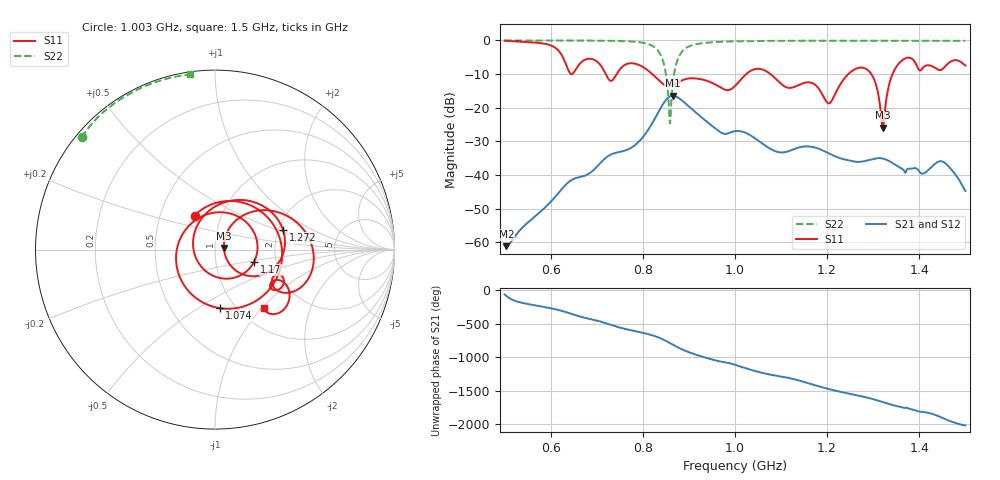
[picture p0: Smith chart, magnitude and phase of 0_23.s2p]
! TOUCHSTONE file generated by CST MICROWAVE STUDIO
! Date and time: Sat Oct 24 10:46:02 2020
! Project name: Scenario_1_Planar_Body_Tissue_Center.cst
! Parameters = {hfat=3; hmuscle=50; hskin=1.5; hgap=25; Wtissue=700; Ltissue=700; L_HA=400; MT=2.54; Rad_Dielectric=30; Rad_Lower=7.3; Rad_Upper=30; a_HA=580; a_WG=246; b_HA=500; b_WG=121; c_HA=0; c_WG=187; d_feed=85; dx1=554.04; h_feed=15; h_lower=18; h_upper=40}
! Header version: 2018
! Port assignment regex: !\s*Touchstone port\s*([0-9]+)\s*=\s*(CST MWS port|CST DS port)\s*([0-9]+|Zmin|Zmax)\s*\(\"(.*)\"\)(\s*mode\s*([0-9]+))?.*
! Touchstone port assignment:
! Touchstone port 1 = CST MWS port 1 ("")
! Touchstone port 2 = CST MWS port 2 ("")
# GHz S DB R 50
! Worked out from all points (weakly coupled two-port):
!   1003 points, 500 MHz to 1.5 GHz, reference 50 ohm
!   highest |S21| = -16.46 dB at 865 MHz (marker M1); lowest = -61.2 dB at 504 MHz (marker M2)
!   lowest |S11| = -25.9 dB at 1.321 GHz (marker M3), VSWR 1.11, Z = 55.2 + j0.926 ohm
!   |S11| at or under -10 dB: 820.3 MHz to 1.024 GHz (204 MHz wide, 22.1 % of centre); 1.077 GHz to 1.246 GHz (169.2 MHz wide, 14.6 % of centre); 1.296 GHz to 1.342 GHz (45.97 MHz wide, 3.49 % of centre) (the widest 3 of 5)
!   |S22| runs from -24.7 to 0.0 dB; largest |S21 - S12| = 6.2e-05
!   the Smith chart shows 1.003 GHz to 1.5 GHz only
!   S11 on the Smith chart (normalised r, x): 1.003 GHz: 0.75, +0.30; 1.074 GHz: 0.85, -0.62; 1.17 GHz: 1.54, -0.22; 1.272 GHz: 2.12, +0.55; 1.5 GHz: 1.29, -1.02
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0.5  -0.09 -122.2  -60.94 -63.0  -60.93 -63.0  -0.01 151.1
0.504  -0.12 -123.7  -61.20 -85.5  -61.20 -85.5  -0.01 150.9
0.621  -3.73 156.2  -44.72 59.1  -44.72 59.1  -0.02 142.4
0.667  -6.41 168.3  -40.55 -37.9  -40.55 -37.9  -0.04 138.4
0.722  -10.67 23.9  -34.66 -136.6  -34.66 -136.6  -0.10 132.0
0.766  -6.97 174.7  -32.52 136.5  -32.52 136.5  -0.24 124.1
0.797  -7.65 99.7  -29.28 90.2  -29.28 90.2  -0.61 114.2
0.834  -11.78 -1.0  -21.27 16.0  -21.27 16.0  -3.26 85.2
0.865  -13.30 -130.6  -16.46 -93.0  -16.46 -93.0  -12.94 -134.0
0.898  -11.35 103.6  -19.38 161.6  -19.38 161.6  -1.90 170.1
0.961  -13.39 -74.5  -26.56 28.4  -26.56 28.4  -0.46 146.7
1  -13.55 132.1  -26.98 -31.8  -26.98 -31.8  -0.28 140.2
1.003  -13.12 120.9  -26.93 -38.3  -26.93 -38.3  -0.27 139.9
1.042  -8.58 1.1  -28.98 -122.2  -28.98 -122.2  -0.18 135.3
1.074  -9.70 -85.4  -32.03 -175.4  -32.03 -175.4  -0.14 132.1
1.167  -12.66 -9.1  -31.66 36.4  -31.66 36.4  -0.09 124.2
1.17  -12.85 -17.6  -31.74 30.2  -31.74 30.2  -0.09 124.0
1.213  -17.16 149.4  -34.20 -50.3  -34.20 -50.3  -0.09 120.6
1.272  -8.08 16.2  -36.10 -139.2  -36.10 -139.2  -0.09 116.2
1.321  -25.94 9.5  -35.15 130.1  -35.15 130.1  -0.08 112.5
1.334  -13.38 53.3  -35.85 102.6  -35.85 102.6  -0.08 111.5
1.5  -7.44 -50.3  -44.78 142.1  -44.78 142.1  -0.13 98.0
